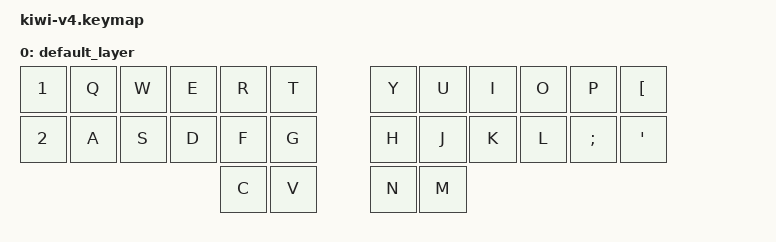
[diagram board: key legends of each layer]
#include <behaviors.dtsi>
#include <dt-bindings/zmk/keys.h>
#include <dt-bindings/zmk/bt.h>
  
/ {
	keymap {
		compatible = "zmk,keymap";
		default_layer {
			bindings = <
				&kp N1 &kp Q &kp W &kp E &kp R &kp T     &kp Y &kp U &kp I &kp O &kp P &kp LEFT_BRACKET
				&kp N2 &kp A &kp S &kp D &kp F &kp G     &kp H &kp J &kp K &kp L &kp SEMICOLON &kp APOSTROPHE
							&kp C &kp V     &kp N &kp M
			>;
		};
	};
};
